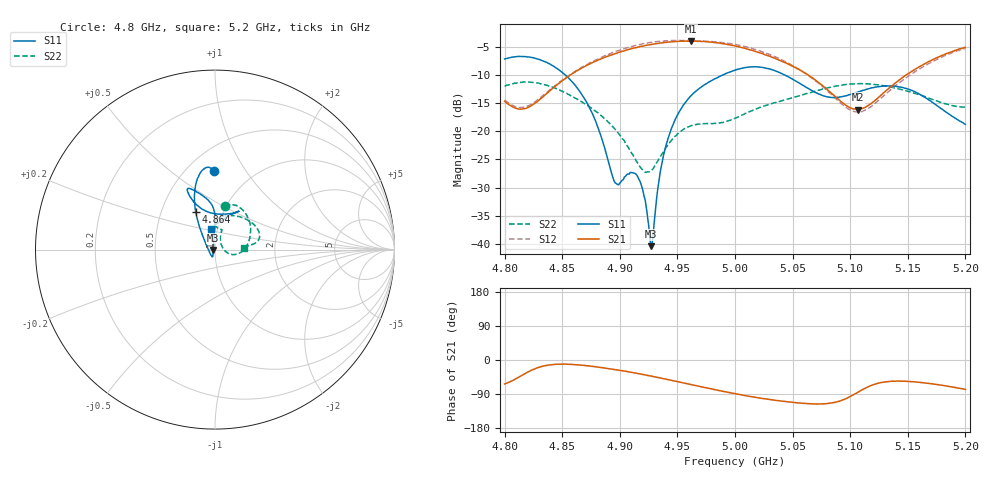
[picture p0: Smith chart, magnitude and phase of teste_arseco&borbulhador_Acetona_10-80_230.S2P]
! Network Analyzer HP8722D
! Hewlett-Packard
! Data name: Linha & Wilkinson
! Saver's name: Rodrigo Anjos
! Comments: Teste da utilização de aquisição
! continua pelo VNA HP8722D
! Time and date: 25/4/2025 17:11
!  Frequency  S11  S21  S12  S22
# HZ  S  MA R 50
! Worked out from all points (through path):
!   401 points, 4.8 GHz to 5.2 GHz, reference 50 ohm
!   highest |S21| = -3.99 dB at 4.962 GHz (marker M1); lowest = -16.2 dB at 5.107 GHz (marker M2)
!   lowest |S11| = -40.4 dB at 4.927 GHz (marker M3), VSWR 1.02, Z = 49.1 - j0.17 ohm
!   |S11| at or under -10 dB: 4.852 GHz to 4.99 GHz (137.2 MHz wide, 2.79 % of centre); 5.043 GHz to end of sweep
!   |S22| runs from -27.3 to -11.2 dB; largest |S21 - S12| = 1.2
!   S11 on the Smith chart (normalised r, x): 4.8 GHz: 0.67, +0.73; 4.864 GHz: 0.74, +0.33; 5.2 GHz: 0.93, +0.21
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4.8e9  0.4375 90.9  0.1842 -63.3  0.1893 70.1  0.2505 77.0
4.82e9  0.4547 97.2  0.1616 -31.9  0.1674 98.8  0.2722 61.3
4.843e9  0.3748 106.7  0.2459 -11.7  0.2495 118.9  0.243 36.5
4.864e9  0.2347 117.1  0.3486 -12.9  0.3533 121.0  0.1893 12.1
4.867e9  0.212 118.8  0.3644 -13.9  0.3678 120.6  0.1824 8.8
4.88e9  0.1152 129.1  0.4216 -18.4  0.4327 118.2  0.1476 -5.2
4.896e9  0.03478 -170.7  0.4878 -25.4  0.5068 113.0  0.1037 -15.6
4.916e9  0.03862 -108.5  0.5576 -36.0  0.584 104.0  0.05125 -1.7
4.921e9  0.02663 -114.4  0.5724 -39.0  0.5993 101.2  0.04414 14.3
4.927e9  0.009542 -169.6  0.5875 -42.2  0.6143 97.5  0.04431 37.5
4.929e9  0.01231 140.4  0.5919 -43.5  0.6189 96.4  0.04656 45.6
4.934e9  0.0366 102.1  0.6023 -46.7  0.6266 93.2  0.05683 57.6
4.939e9  0.06729 94.4  0.6128 -50.0  0.6331 89.9  0.06813 64.8
4.945e9  0.1068 91.3  0.6201 -53.9  0.6373 86.2  0.08309 68.9
4.962e9  0.2071 90.6  0.6319 -65.0  0.6366 75.2  0.112 70.4
5e9  0.3486 109.2  0.5713 -89.1  0.5881 50.7  0.1302 87.6
5.03e9  0.3569 115.4  0.4626 -104.2  0.4789 33.8  0.1729 85.2
5.067e9  0.2289 105.6  0.2982 -115.8  0.2956 23.6  0.2222 56.9
5.107e9  0.2227 65.0  0.1557 -84.6  0.1478 58.4  0.2633 24.1
5.134e9  0.252 58.2  0.2418 -56.5  0.2271 88.8  0.2482 12.3
5.169e9  0.1872 71.1  0.4182 -62.1  0.4018 84.8  0.195 6.8
5.2e9  0.1148 101.2  0.5545 -77.7  0.5433 70.0  0.1628 3.6
